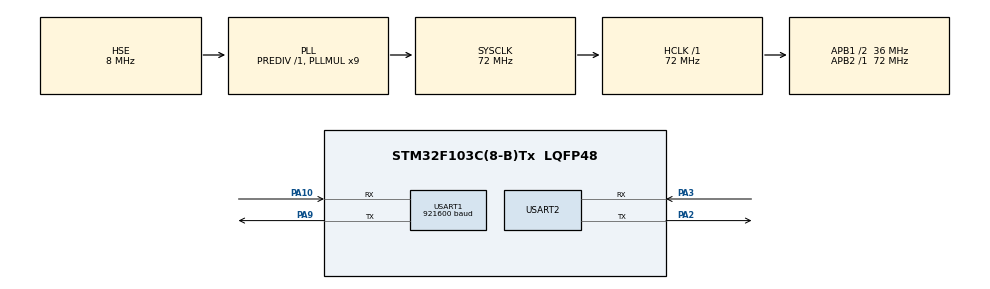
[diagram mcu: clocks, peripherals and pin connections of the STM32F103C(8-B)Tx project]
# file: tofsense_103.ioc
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Dma.Request0=USART1_RX
Dma.Request1=USART1_TX
Dma.USART1_RX.0.Direction=DMA_PERIPH_TO_MEMORY
Dma.USART1_RX.0.Instance=DMA1_Channel5
Dma.USART1_RX.0.MemDataAlignment=DMA_MDATAALIGN_BYTE
Dma.USART1_RX.0.MemInc=DMA_MINC_ENABLE
Dma.USART1_RX.0.Mode=DMA_NORMAL
Dma.USART1_RX.0.PeriphDataAlignment=DMA_PDATAALIGN_BYTE
Dma.USART1_RX.0.PeriphInc=DMA_PINC_DISABLE
Dma.USART1_RX.0.Priority=DMA_PRIORITY_LOW
Dma.USART1_TX.1.Direction=DMA_MEMORY_TO_PERIPH
Dma.USART1_TX.1.Instance=DMA1_Channel4
Dma.USART1_TX.1.MemDataAlignment=DMA_MDATAALIGN_BYTE
Dma.USART1_TX.1.MemInc=DMA_MINC_ENABLE
Dma.USART1_TX.1.Mode=DMA_NORMAL
Dma.USART1_TX.1.PeriphDataAlignment=DMA_PDATAALIGN_BYTE
Dma.USART1_TX.1.PeriphInc=DMA_PINC_DISABLE
Dma.USART1_TX.1.Priority=DMA_PRIORITY_LOW
Mcu.Family=STM32F1
Mcu.Name=STM32F103C(8-B)Tx
Mcu.Package=LQFP48
NVIC.DMA1_Channel4_IRQn=true\:0\:0\:false\:false\:true\:false\:true\:true
NVIC.DMA1_Channel5_IRQn=true\:0\:0\:false\:false\:true\:false\:true\:true
NVIC.PriorityGroup=NVIC_PRIORITYGROUP_4
NVIC.USART1_IRQn=true\:0\:0\:false\:false\:true\:true\:true\:true
NVIC.USART2_IRQn=true\:0\:0\:false\:false\:true\:true\:true\:true
PA10.Mode=Asynchronous
PA10.Signal=USART1_RX
PA13.Mode=Serial_Wire
PA13.Signal=SYS_JTMS-SWDIO
PA14.Mode=Serial_Wire
PA14.Signal=SYS_JTCK-SWCLK
PA2.Mode=Asynchronous
PA2.Signal=USART2_TX
PA3.Mode=Asynchronous
PA3.Signal=USART2_RX
PA9.Mode=Asynchronous
PA9.Signal=USART1_TX
PD0-OSC_IN.Mode=HSE-External-Oscillator
PD0-OSC_IN.Signal=RCC_OSC_IN
PD1-OSC_OUT.Mode=HSE-External-Oscillator
PD1-OSC_OUT.Signal=RCC_OSC_OUT
ProjectManager.HeapSize=0x200
ProjectManager.StackSize=0x400
ProjectManager.TargetToolchain=MDK-ARM V5.32
RCC.AHBFreq_Value=72000000
RCC.APB1CLKDivider=RCC_HCLK_DIV2
RCC.APB1Freq_Value=36000000
RCC.APB1TimFreq_Value=72000000
RCC.APB2Freq_Value=72000000
RCC.APB2TimFreq_Value=72000000
RCC.HCLKFreq_Value=72000000
RCC.PLLMUL=RCC_PLL_MUL9
RCC.PLLSourceVirtual=RCC_PLLSOURCE_HSE
RCC.SYSCLKFreq_VALUE=72000000
RCC.SYSCLKSource=RCC_SYSCLKSOURCE_PLLCLK
RCC.USBFreq_Value=72000000
USART1.BaudRate=921600
USART1.VirtualMode=VM_ASYNC
USART2.VirtualMode=VM_ASYNC
board=custom

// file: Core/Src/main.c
/* USER CODE BEGIN Header */
/**
  ******************************************************************************
  * @file           : main.c
  * @brief          : Main program body
  ******************************************************************************
  * @attention
  *
  * Copyright (c) 2023 STMicroelectronics.
  * All rights reserved.
  *
  * This software is licensed under terms that can be found in the LICENSE file
  * in the root directory of this software component.
  * If no LICENSE file comes with this software, it is provided AS-IS.
  *
  ******************************************************************************
  */
/* USER CODE END Header */
#include "main.h"
#include "dma.h"
#include "usart.h"
#include "gpio.h"

void SystemClock_Config(void);

/* USER CODE BEGIN 0 */
#define TOF_UART	huart1

uint8_t rx_temp;		//临时接收缓存
uint8_t u_rx_buf[16];	//缓存数组
float final_data = 0;	//最终输出

//重定向printf
#include "stdio.h"

int fputc(int ch, FILE *f) //重定向printf函数
{
    HAL_UART_Transmit(&huart2, (void*)&ch, 1, 1000);
    return ch;
}

//串口数据处理、解析
#include "nlink_tofsense_frame0.h"

void HAL_UART_RxCpltCallback(UART_HandleTypeDef *huart)
{
	static uint8_t c = 0;

	static float old_data = 0;

	if (c == 0)
	{
		if (rx_temp == 0x57) 	//判断帧头
		{
			u_rx_buf[c++] = rx_temp;
		}
		else
		{
			c = 0;
		}
	}
	else if (c == 1)
	{
		if (rx_temp == 0x00)		//判断关键字
		{
			u_rx_buf[c++] = rx_temp;
		}
		else
		{
			c = 0;
		}
	}
	else
	{
		u_rx_buf[c++] = rx_temp;
		if (c >= 16)	//数据接够了 开始解析
		{
			if (g_nts_frame0.UnpackData(u_rx_buf, sizeof(u_rx_buf)/sizeof(u_rx_buf[0])))
			{
				//这里做了一个简单的过滤与数据处理
				//不同型号的TOFsense过滤参数是不一样的需要根据数据手册来处理
				if (
					g_nts_frame0.result.dis <= 0		  ||	//量程过滤
					g_nts_frame0.result.dis >= 5		  ||
					g_nts_frame0.result.dis_status == 14  ||	//距离状态指示过滤
					g_nts_frame0.result.dis_status == 255 ||
					g_nts_frame0.result.signal_strength == 0	//信号强度过滤
				)
				{
					final_data = old_data;	//对异常数据取上一正常数据的处理
				}
				else
				{
					final_data = g_nts_frame0.result.dis;		//更新当前数据
					old_data = g_nts_frame0.result.dis;		//更新上一数据
				}

				printf("接收的数据为:%f\r\n",final_data);		//打印到串口
			}
			c = 0;	//清空索引
		}

	}
	HAL_UART_Receive_IT(&TOF_UART, &rx_temp, 1);
}

//发送查询命令获取数据
void Inquire_data(uint8_t id)
{
	static uint8_t u_tx_buf[8];

	u_tx_buf[0] = 0x57;	//帧头
	u_tx_buf[1] = 0x10;	//关键字

	u_tx_buf[2] = 0xFF;
	u_tx_buf[3] = 0xFF;

	u_tx_buf[4] = id;	//所需查询模块的ID

	u_tx_buf[5] = 0xFF;
	u_tx_buf[6] = 0xFF;

	u_tx_buf[7] = 0;	//清空校验和

	for (int i = 0; i < 7; i++)
	{
		u_tx_buf[7] += u_tx_buf[i];
	}
	HAL_UART_Transmit_DMA(&TOF_UART, u_tx_buf, sizeof(u_tx_buf));
}
/* USER CODE END 0 */

int main(void)
{

  /* MCU Configuration--------------------------------------------------------*/

  /* Reset of all peripherals, Initializes the Flash interface and the Systick. */
  HAL_Init();

  /* Configure the system clock */
  SystemClock_Config();

  /* Initialize all configured peripherals */
  MX_GPIO_Init();
  MX_DMA_Init();
  MX_USART1_UART_Init();
  MX_USART2_UART_Init();
  /* USER CODE BEGIN 2 */
	HAL_UART_Receive_IT(&TOF_UART, &rx_temp, 1);
  /* USER CODE END 2 */

  /* Infinite loop */
  /* USER CODE BEGIN WHILE */
  while (1)
  {
//	  Inquire_data(0);	//查询模式获取数据，主动输出模式注释掉
	  //查询之间最好延迟一段时间，一般为 delay = 1/刷新频率，如果超过这个速度会得到重复的数据
//	  HAL_Delay(100);
    /* USER CODE END WHILE */

  }
}

void SystemClock_Config(void)
{
  RCC_OscInitTypeDef RCC_OscInitStruct = {0};
  RCC_ClkInitTypeDef RCC_ClkInitStruct = {0};

  /** Initializes the RCC Oscillators according to the specified parameters
  * in the RCC_OscInitTypeDef structure.
  */
  RCC_OscInitStruct.OscillatorType = RCC_OSCILLATORTYPE_HSE;
  RCC_OscInitStruct.HSEState = RCC_HSE_ON;
  RCC_OscInitStruct.HSEPredivValue = RCC_HSE_PREDIV_DIV1;
  RCC_OscInitStruct.HSIState = RCC_HSI_ON;
  RCC_OscInitStruct.PLL.PLLState = RCC_PLL_ON;
  RCC_OscInitStruct.PLL.PLLSource = RCC_PLLSOURCE_HSE;
  RCC_OscInitStruct.PLL.PLLMUL = RCC_PLL_MUL9;
  if (HAL_RCC_OscConfig(&RCC_OscInitStruct) != HAL_OK)
  {
    Error_Handler();
  }

  /** Initializes the CPU, AHB and APB buses clocks
  */
  RCC_ClkInitStruct.ClockType = RCC_CLOCKTYPE_HCLK|RCC_CLOCKTYPE_SYSCLK
                              |RCC_CLOCKTYPE_PCLK1|RCC_CLOCKTYPE_PCLK2;
  RCC_ClkInitStruct.SYSCLKSource = RCC_SYSCLKSOURCE_PLLCLK;
  RCC_ClkInitStruct.AHBCLKDivider = RCC_SYSCLK_DIV1;
  RCC_ClkInitStruct.APB1CLKDivider = RCC_HCLK_DIV2;
  RCC_ClkInitStruct.APB2CLKDivider = RCC_HCLK_DIV1;

  if (HAL_RCC_ClockConfig(&RCC_ClkInitStruct, FLASH_LATENCY_2) != HAL_OK)
  {
    Error_Handler();
  }
}

void Error_Handler(void)
{
  __disable_irq();
  while (1)
  {
  }
}
